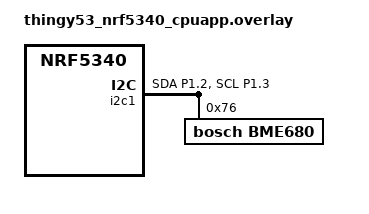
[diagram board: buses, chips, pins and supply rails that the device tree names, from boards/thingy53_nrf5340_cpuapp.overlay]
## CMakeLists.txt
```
#
# Copyright (c) 2020 Nordic Semiconductor ASA
#
# SPDX-License-Identifier: LicenseRef-Nordic-5-Clause
#
cmake_minimum_required(VERSION 3.20.0)

find_package(Zephyr REQUIRED HINTS $ENV{ZEPHYR_BASE})
project(sensor_server)

# NORDIC SDK APP START
target_sources(app PRIVATE
	src/main.c
	src/model_handler.c)
target_include_directories(app PRIVATE include)

# NORDIC SDK APP END
```

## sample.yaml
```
sample:
  description: Bluetooth Mesh sensor sample
  name: Bluetooth Mesh sensor
tests:
  sample.bluetooth.mesh.sensor_server:
    build_only: true
    integration_platforms:
      - nrf52dk_nrf52832
      - nrf52840dk_nrf52840
      - thingy53_nrf5340_cpuapp
      - nrf21540dk_nrf52840
    platform_allow: >
      nrf52dk_nrf52832 nrf52840dk_nrf52840 thingy53_nrf5340_cpuapp
      nrf21540dk_nrf52840
    tags: bluetooth ci_build
```

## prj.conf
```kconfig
#
# Copyright (c) 2020 Nordic Semiconductor ASA
#
# SPDX-License-Identifier: LicenseRef-Nordic-5-Clause
#
CONFIG_NCS_SAMPLES_DEFAULTS=y

# Deffered logging helps improve LPN power consumption
# when friendship is established.
CONFIG_LOG_MODE_DEFERRED=y

# General configuration
CONFIG_SYSTEM_WORKQUEUE_STACK_SIZE=2048
CONFIG_FLASH=y
CONFIG_FLASH_MAP=y
CONFIG_FLASH_SHELL=n
CONFIG_NVS=y
CONFIG_NVS_LOOKUP_CACHE=y
CONFIG_SETTINGS=y
CONFIG_SETTINGS_NVS_NAME_CACHE=y
CONFIG_HWINFO=y
CONFIG_DK_LIBRARY=y
CONFIG_PM_SINGLE_IMAGE=y
CONFIG_PM_PARTITION_SIZE_SETTINGS_STORAGE=0x8000
CONFIG_SOC_FLASH_NRF_PARTIAL_ERASE=y
CONFIG_FPU=y
CONFIG_CBPRINTF_FP_SUPPORT=y

# Temperature sensor
CONFIG_SENSOR=y
CONFIG_TEMP_NRF5=y

# Bluetooth configuration
CONFIG_BT=y
CONFIG_BT_DEVICE_NAME="Mesh S&O"
CONFIG_BT_L2CAP_TX_BUF_COUNT=8
CONFIG_BT_OBSERVER=y
CONFIG_BT_PERIPHERAL=y
CONFIG_BT_SETTINGS=y

# Disable unused Bluetooth features
CONFIG_BT_CTLR_LE_ENC=n
CONFIG_BT_PHY_UPDATE=n
CONFIG_BT_CTLR_CHAN_SEL_2=n
CONFIG_BT_CTLR_MIN_USED_CHAN=n
CONFIG_BT_CTLR_PRIVACY=n

# Bluetooth Mesh configuration
CONFIG_BT_MESH=y
CONFIG_BT_MESH_RELAY=y
CONFIG_BT_MESH_FRIEND=y
CONFIG_BT_MESH_TX_SEG_MAX=10
CONFIG_BT_MESH_PB_GATT=y
CONFIG_BT_MESH_GATT_PROXY=y
CONFIG_BT_MESH_PROXY_USE_DEVICE_NAME=y
CONFIG_BT_MESH_DK_PROV=y
CONFIG_BT_MESH_NLC_PERF_CONF=y
CONFIG_BT_MESH_MODEL_EXTENSIONS=y
CONFIG_BT_MESH_MODEL_EXTENSION_LIST_SIZE=6
CONFIG_BT_MESH_SUBNET_COUNT=2
CONFIG_BT_MESH_APP_KEY_COUNT=3
CONFIG_BT_MESH_MODEL_KEY_COUNT=3
CONFIG_BT_MESH_CRPL=32
CONFIG_BT_MESH_MSG_CACHE_SIZE=64
CONFIG_BT_MESH_SHELL=y
# Enabling BT_MESH_NLC_PERF_CONF enables support for 3 application keys by
# default. Therefore, allow up to 3 application key bindings per model instance.
CONFIG_BT_MESH_MODEL_KEY_COUNT=3

# Bluetooth Mesh models
CONFIG_BT_MESH_SENSOR_SRV=y
CONFIG_BT_MESH_SENSOR_CLI=y
CONFIG_BT_MESH_SENSOR_SRV_SENSORS_MAX=5
CONFIG_BT_MESH_SENSOR_USE_LEGACY_SENSOR_VALUE=n

# Debugging
CONFIG_BT_MESH_LOG_LEVEL_DBG=y
CONFIG_BT_MESH_PROVISIONEE_LOG_LEVEL_INF=y
```

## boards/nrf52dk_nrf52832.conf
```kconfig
#
# Copyright (c) 2024 Nordic Semiconductor ASA
#
# SPDX-License-Identifier: LicenseRef-Nordic-5-Clause
#
################################################################################
# Application overlay - nrf52dk_nrf52832

CONFIG_SOC_FLASH_NRF_PARTIAL_ERASE=n
```

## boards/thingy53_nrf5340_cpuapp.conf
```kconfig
#
# Copyright (c) 2021 Nordic Semiconductor ASA
#
# SPDX-License-Identifier: LicenseRef-Nordic-5-Clause
#
################################################################################
# Application overlay - Thingy:53 DFU

CONFIG_NCS_SAMPLE_MCUMGR_BT_OTA_DFU=y
CONFIG_NCS_SAMPLE_MCUMGR_BT_OTA_DFU_SPEEDUP=y

CONFIG_SYSTEM_WORKQUEUE_STACK_SIZE=4096

# Use deferred logging
CONFIG_NCS_SAMPLES_DEFAULTS=n
CONFIG_LOG=y
CONFIG_ASSERT=y
CONFIG_ASSERT_NO_COND_INFO=y
CONFIG_ASSERT_NO_MSG_INFO=y
CONFIG_HW_STACK_PROTECTION=y

################################################################################
# Sensor configuration

# Enable Temprature Sensor
CONFIG_BME680=y

# Disable nRF5 sensor
CONFIG_TEMP_NRF5=n
```

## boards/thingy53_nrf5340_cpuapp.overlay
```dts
/*
 * Copyright (c) 2021-2022 Nordic Semiconductor ASA
 *
 * SPDX-License-Identifier: LicenseRef-Nordic-5-Clause
 */

i2c1: &i2c1 {
	compatible = "nordic,nrf-twim";
	status = "okay";

	pinctrl-0 = <&i2c1_default_alt_alt>;
	pinctrl-1 = <&i2c1_sleep_alt_alt>;
	pinctrl-names = "default", "sleep";
	bme680: bme680@76 {
		compatible = "bosch,bme680";
		reg = <0x76>;
	};
};

&pinctrl {
	i2c1_default_alt_alt: i2c1_default_alt_alt {
		group1 {
			psels = <NRF_PSEL(TWIM_SDA, 1, 2)>,
				<NRF_PSEL(TWIM_SCL, 1, 3)>;
		};
	};

	i2c1_sleep_alt_alt: i2c1_sleep_alt_alt {
		group1 {
			psels = <NRF_PSEL(TWIM_SDA, 1, 2)>,
				<NRF_PSEL(TWIM_SCL, 1, 3)>;
			low-power-enable;
		};
	};

};
```

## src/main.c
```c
#include <zephyr/bluetooth/bluetooth.h>
#include <bluetooth/mesh/models.h>
#include <bluetooth/mesh/dk_prov.h>
#include <dk_buttons_and_leds.h>
#include "model_handler.h"

// Callback function that is called when Bluetooth is ready
static void bt_ready(int err)
{
    if (err) {
        printk("Bluetooth init failed (err %d)\n", err);
        return;
    }

    printk("Bluetooth initialized\n");

    // Initialize LEDs and buttons on the board
    dk_leds_init();
    dk_buttons_init(NULL);

    // Initialize Bluetooth Mesh with provisioning and model handler
    err = bt_mesh_init(bt_mesh_dk_prov_init(), model_handler_init());
    if (err) {
        printk("Initializing mesh failed (err %d)\n", err);
        return;
    }

    // Load stored settings if available
    if (IS_ENABLED(CONFIG_SETTINGS)) {
        settings_load();
    }

    // Enable provisioning over advertising and GATT
    bt_mesh_prov_enable(BT_MESH_PROV_ADV | BT_MESH_PROV_GATT);

    printk("Mesh initialized\n");
}

// Main function that starts the Bluetooth initialization process
int main(void)
{
    int err;

    printk("Initializing...\n");

    // Enable Bluetooth and provide a callback when ready
    err = bt_enable(bt_ready);
    if (err) {
        printk("Bluetooth init failed (err %d)\n", err);
    }

    return 0;
}
```

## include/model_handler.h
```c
/*
 * Copyright (c) 2020 Nordic Semiconductor ASA
 *
 * SPDX-License-Identifier: LicenseRef-Nordic-5-Clause
 */

/**
 * @file
 * @brief Model handler
 */

#ifndef MODEL_HANDLER_H__
#define MODEL_HANDLER_H__

#include <zephyr/bluetooth/mesh.h>

#ifdef __cplusplus
extern "C" {
#endif

const struct bt_mesh_comp *model_handler_init(void);

#ifdef __cplusplus
}
#endif

#endif /* MODEL_HANDLER_H__ */
```

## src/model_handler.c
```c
#include <zephyr/device.h>
#include <zephyr/devicetree.h>
#include <zephyr/bluetooth/bluetooth.h>
#include <zephyr/drivers/sensor.h>
#include <bluetooth/mesh/models.h>
#include <bluetooth/mesh/sensor_types.h>
#include <dk_buttons_and_leds.h>
#include "model_handler.h"

// Conditional compilation to choose the correct sensor node
#if DT_NODE_HAS_STATUS(DT_NODELABEL(bme680), okay)
/** Thingy53 */
#define SENSOR_NODE DT_NODELABEL(bme680)
#define SENSOR_DATA_TYPE SENSOR_CHAN_AMBIENT_TEMP
#elif DT_NODE_HAS_STATUS(DT_NODELABEL(temp), okay)
/** nRF52 DK */
#define SENSOR_NODE DT_NODELABEL(temp)
#define SENSOR_DATA_TYPE SENSOR_CHAN_DIE_TEMP
#else
#error "Unsupported board!"
#endif

// Macro to initialize temperature sensor value in the correct format
#define TEMP_INIT(_val) { .format = &bt_mesh_sensor_format_temp, .raw = { \
    FIELD_GET(GENMASK(7, 0), (_val) * 100),                                \
    FIELD_GET(GENMASK(15, 8), (_val) * 100)                                \
}}

// Retrieve the device object for the selected sensor node
static const struct device *dev = DEVICE_DT_GET(SENSOR_NODE);

// Function to fetch and return the temperature data from the sensor
static int chip_temp_get(struct bt_mesh_sensor_srv *srv,
                         struct bt_mesh_sensor *sensor,
                         struct bt_mesh_msg_ctx *ctx,
                         struct bt_mesh_sensor_value *rsp)
{
    struct sensor_value channel_val;
    int err;

    // Fetch data from the sensor
    sensor_sample_fetch(dev);

    // Get the temperature data from the sensor's channel
    err = sensor_channel_get(dev, SENSOR_DATA_TYPE, &channel_val);
    if (err) {
        printk("Error getting temperature sensor data (%d)\n", err);
    }

    // Convert the sensor value to a mesh-compatible format
    err = bt_mesh_sensor_value_from_sensor_value(
        sensor->type->channels[0].format, &channel_val, rsp);
    if (err) {
        printk("Error encoding temperature sensor data (%d)\n", err);
    }

    return err;
}

// Descriptor for the temperature sensor, specifying its tolerance and sampling type
static const struct bt_mesh_sensor_descriptor chip_temp_descriptor = {
    .tolerance = {
        .negative = BT_MESH_SENSOR_TOLERANCE_ENCODE(4),
        .positive = BT_MESH_SENSOR_TOLERANCE_ENCODE(4),
    },
    .sampling_type = BT_MESH_SENSOR_SAMPLING_INSTANTANEOUS,
};

// Define the temperature sensor with its type and getter function
static struct bt_mesh_sensor chip_temp = {
    .type = &bt_mesh_sensor_present_dev_op_temp,
    .get = chip_temp_get,
    .descriptor = &chip_temp_descriptor,
};

// Array of sensor pointers for the sensor server
static struct bt_mesh_sensor *const chip_temp_sensor[] = {
    &chip_temp,
};

// Initialize the sensor server with the temperature sensor
static struct bt_mesh_sensor_srv chip_temp_sensor_srv =
    BT_MESH_SENSOR_SRV_INIT(chip_temp_sensor, ARRAY_SIZE(chip_temp_sensor));

// Observer client function to handle received sensor data
static void sensor_cli_data_cb(struct bt_mesh_sensor_cli *cli,
                               struct bt_mesh_msg_ctx *ctx,
                               const struct bt_mesh_sensor_type *sensor,
                               const struct bt_mesh_sensor_value *value)
{
    if (sensor->id == bt_mesh_sensor_present_dev_op_temp.id) {
        printk("Received chip temperature from device %d: %s\n", ctx->addr, bt_mesh_sensor_ch_str(value));
    }
}

// Handlers for the sensor client
static const struct bt_mesh_sensor_cli_handlers bt_mesh_sensor_cli_handlers = {
    .data = sensor_cli_data_cb,
};

// Initialize the sensor client
static struct bt_mesh_sensor_cli sensor_cli =
    BT_MESH_SENSOR_CLI_INIT(&bt_mesh_sensor_cli_handlers);

static struct k_work_delayable get_data_work;

// Function to retrieve sensor data periodically
static void get_data(struct k_work *work)
{
    if (!bt_mesh_is_provisioned()) {
        k_work_schedule(&get_data_work, K_MSEC(GET_DATA_INTERVAL));
        return;
    }

    // Request temperature data from the sensor
    int err = bt_mesh_sensor_cli_get(
        &sensor_cli, NULL, &bt_mesh_sensor_present_dev_op_temp,
        NULL);
    if (err) {
        printk("Error getting chip temperature (%d)\n", err);
    }

    // Schedule the next data retrieval
    k_work_schedule(&get_data_work, K_MSEC(GET_DATA_INTERVAL));
}

// Button handler callback to manually trigger temperature data retrieval
static void button_handler_cb(uint32_t pressed, uint32_t changed)
{
    if (!bt_mesh_is_provisioned()) {
        return;
    }

    if (pressed & changed & BIT(0)) {
        int err = bt_mesh_sensor_cli_get(&sensor_cli, NULL,
                                         &bt_mesh_sensor_present_dev_op_temp, NULL);
        if (err) {
            printk("Error getting chip temperature (%d)\n", err);
        }
    }
}

// Initialize the button handler with the callback function
static struct button_handler button_handler = {
    .cb = button_handler_cb,
};

// Variables and functions for handling attention state and LED blinking
static struct k_work_delayable attention_blink_work;
static bool attention;

// Function to handle LED blinking when attention is requested
static void attention_blink(struct k_work *work)
{
    static int idx;
    const uint8_t pattern[] = {
    BIT(0) | BIT(1),  // LEDs 0 and 1 are turned on
    BIT(1) | BIT(2),  // LEDs 1 and 2 are turned on
    BIT(2) | BIT(3),  // LEDs 2 and 3 are turned on
    BIT(3) | BIT(0),  // LEDs 3 and 0 are turned on
};
// Array defining different LED patterns to create a rotating blink effect

if (attention) {  
    // Check if the attention mode is active
    dk_set_leds(pattern[idx++ % ARRAY_SIZE(pattern)]);
    // Set the LEDs to the current pattern, then increment the index to move to the next pattern
    // The modulo operation ensures the index wraps around when it reaches the end of the array
    k_work_reschedule(&attention_blink_work, K_MSEC(30));
    // Reschedule the work to run again after 30 milliseconds to create a continuous blinking effect
} else {  
    // If attention mode is not active
    dk_set_leds(DK_NO_LEDS_MSK);
    // Turn off all LEDs
}
}

// Function to start attention blinking
static void attention_on(const struct bt_mesh_model *mod)
{
    attention = true;
    k_work_reschedule(&attention_blink_work, K_NO_WAIT);
}

// Function to stop attention blinking
static void attention_off(const struct bt_mesh_model *mod)
{
    attention = false;
}

// Callbacks for the health server to handle attention state
static const struct bt_mesh_health_srv_cb health_srv_cb = {
    .attn_on = attention_on,
    .attn_off = attention_off,
};

// Initialize the health server with the callbacks
static struct bt_mesh_health_srv health_srv = {
    .cb = &health_srv_cb,
};

// Define the elements and models for the mesh node
static struct bt_mesh_elem elements[] = {
    BT_MESH_ELEM(1,
                 BT_MESH_MODEL_LIST(BT_MESH_MODEL_CFG_SRV,
                                    BT_MESH_MODEL_HEALTH_SRV(&health_srv,
                                                             &health_pub),
                                    BT_MESH_MODEL_SENSOR_CLI(&sensor_cli),
                                    BT_MESH_MODEL_SENSOR_SRV(&chip_temp_sensor_srv)),
                 BT_MESH_MODEL_NONE),
};

// Define the mesh composition data
static const struct bt_mesh_comp comp = {
    .cid = CONFIG_BT_COMPANY_ID,
    .elem = elements,
    .elem_count = ARRAY_SIZE(elements),
};

// Function to initialize the model handler
const struct bt_mesh_comp *model_handler_init(void)
{
    // Initialize delayed work for attention blinking and data retrieval
    k_work_init_delayable(&attention_blink_work, attention_blink);
    k_work_init_delayable(&get_data_work, get_data);

    // Check if the sensor device is ready
    if (!device_is_ready(dev)) {
        printk("Temperature sensor not ready\n");
    } else {
        printk("Temperature sensor (%s) initiated\n", dev->name);
    }

    // Add the button handler
    dk_button_handler_add(&button_handler);
    // Schedule the first data retrieval
    k_work_schedule(&get_data_work, K_MSEC(GET_DATA_INTERVAL));

    return &comp;
}
```
